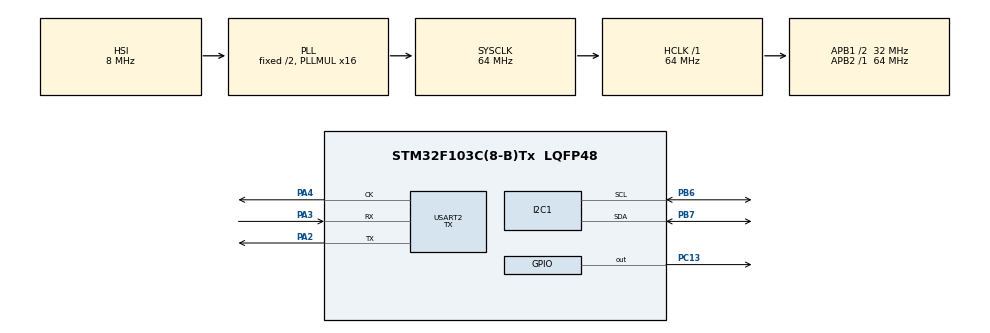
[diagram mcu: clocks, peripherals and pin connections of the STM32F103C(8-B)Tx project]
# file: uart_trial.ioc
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I2C1.I2C_Mode=I2C_Fast
Mcu.Family=STM32F1
Mcu.Name=STM32F103C(8-B)Tx
Mcu.Package=LQFP48
NVIC.PriorityGroup=NVIC_PRIORITYGROUP_4
PA13.Mode=Serial_Wire
PA13.Signal=SYS_JTMS-SWDIO
PA14.Mode=Serial_Wire
PA14.Signal=SYS_JTCK-SWCLK
PA2.Mode=Synchronous
PA2.Signal=USART2_TX
PA3.Mode=Synchronous
PA3.Signal=USART2_RX
PA4.Mode=Synchronous
PA4.Signal=USART2_CK
PB6.Mode=I2C
PB6.Signal=I2C1_SCL
PB7.Mode=I2C
PB7.Signal=I2C1_SDA
PC13-TAMPER-RTC.Signal=GPIO_Output
ProjectManager.HeapSize=0x200
ProjectManager.StackSize=0x400
ProjectManager.TargetToolchain=STM32CubeIDE
RCC.AHBFreq_Value=64000000
RCC.APB1CLKDivider=RCC_HCLK_DIV2
RCC.APB1Freq_Value=32000000
RCC.APB1TimFreq_Value=64000000
RCC.APB2Freq_Value=64000000
RCC.APB2TimFreq_Value=64000000
RCC.HCLKFreq_Value=64000000
RCC.PLLMUL=RCC_PLL_MUL16
RCC.SYSCLKFreq_VALUE=64000000
RCC.SYSCLKSource=RCC_SYSCLKSOURCE_PLLCLK
RCC.USBFreq_Value=64000000
USART2.Mode=MODE_TX
USART2.VirtualMode=VM_SYNC
board=custom

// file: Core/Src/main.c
/* USER CODE BEGIN Header */
/**
  ******************************************************************************
  * @file           : main.c
  * @brief          : Main program body
  ******************************************************************************
  * @attention
  *
  * Copyright (c) 2026 STMicroelectronics.
  * All rights reserved.
  *
  * This software is licensed under terms that can be found in the LICENSE file
  * in the root directory of this software component.
  * If no LICENSE file comes with this software, it is provided AS-IS.
  *
  ******************************************************************************
  */
/* USER CODE END Header */
#include "main.h"

/* USER CODE BEGIN Includes */
#include <stdio.h>
#include <string.h>
/* USER CODE END Includes */

I2C_HandleTypeDef hi2c1;

USART_HandleTypeDef husart2;

/* USER CODE BEGIN PV */
// Raw Data
int16_t Accel_X_RAW, Accel_Y_RAW, Accel_Z_RAW;
int16_t Gyro_X_RAW, Gyro_Y_RAW, Gyro_Z_RAW;

// Scaled Real-World Data (G-force & Degrees/sec)
float Ax, Ay, Az;
float Gx, Gy, Gz;

// Gyroscope Calibration Offsets
float Gx_cal = 0, Gy_cal = 0, Gz_cal = 0;
/* USER CODE END PV */

void SystemClock_Config(void);
static void MX_GPIO_Init(void);
static void MX_I2C1_Init(void);
static void MX_USART2_Init(void);

int main(void)
{

  /* MCU Configuration--------------------------------------------------------*/

  /* Reset of all peripherals, Initializes the Flash interface and the Systick. */
  HAL_Init();

  /* Configure the system clock */
  SystemClock_Config();

  /* Initialize all configured peripherals */
  MX_GPIO_Init();

  // NOTE: If the LED rapid-blinks infinitely on startup, comment these
  // two lines out one at a time to find out which one is crashing the board.
  MX_I2C1_Init();
  MX_USART2_Init();

  /* USER CODE BEGIN 2 */

    // Normal Startup Sequence: Blink 3 times
    for (int i = 0; i < 3; i++)
    {
      HAL_GPIO_TogglePin(GPIOC, GPIO_PIN_13);
      HAL_Delay(500);
      HAL_GPIO_TogglePin(GPIOC, GPIO_PIN_13);
      HAL_Delay(500);
    }

    // --- WAKE UP MPU6050 IMU ---
    uint8_t Data = 0x00;
    HAL_I2C_Mem_Write(&hi2c1, 0xD0, 0x6B, 1, &Data, 1, 1000);

    // --- CALIBRATE GYROSCOPE ---
    // Leave the IMU completely flat and still during this!
    uint8_t Cal_Data[6];
    for (int i = 0; i < 500; i++)
    {
        HAL_I2C_Mem_Read(&hi2c1, 0xD0, 0x43, 1, Cal_Data, 6, 1000);
        Gx_cal += (int16_t)(Cal_Data[0] << 8 | Cal_Data[1]);
        Gy_cal += (int16_t)(Cal_Data[2] << 8 | Cal_Data[3]);
        Gz_cal += (int16_t)(Cal_Data[4] << 8 | Cal_Data[5]);
        HAL_Delay(3); // Small delay between readings
    }

    // Divide by 500 to get the average offset
    Gx_cal /= 500.0;
    Gy_cal /= 500.0;
    Gz_cal /= 500.0;

    /* USER CODE END 2 */

    /* Infinite loop */
      while (1)
      {

        /* USER CODE BEGIN 3 */
        uint8_t Rec_Data[14];

        // Read 14 bytes starting from register 0x3B (ACCEL_XOUT_H)
        HAL_I2C_Mem_Read(&hi2c1, 0xD0, 0x3B, 1, Rec_Data, 14, 1000);

        // 1. Combine Raw Bytes
        Accel_X_RAW = (int16_t)(Rec_Data[0] << 8 | Rec_Data[1]);
        Accel_Y_RAW = (int16_t)(Rec_Data[2] << 8 | Rec_Data[3]);
        Accel_Z_RAW = (int16_t)(Rec_Data[4] << 8 | Rec_Data[5]);

        Gyro_X_RAW = (int16_t)(Rec_Data[8] << 8 | Rec_Data[9]);
        Gyro_Y_RAW = (int16_t)(Rec_Data[10] << 8 | Rec_Data[11]);
        Gyro_Z_RAW = (int16_t)(Rec_Data[12] << 8 | Rec_Data[13]);

        // 2. Convert Accelerometer to G-Force
        Ax = Accel_X_RAW / 16384.0;
        Ay = Accel_Y_RAW / 16384.0;
        Az = Accel_Z_RAW / 16384.0;

        // 3. Subtract Offset and Convert Gyroscope to Degrees/Second
        Gx = (Gyro_X_RAW - Gx_cal) / 131.0;
        Gy = (Gyro_Y_RAW - Gy_cal) / 131.0;
        Gz = (Gyro_Z_RAW - Gz_cal) / 131.0;

        // --- 4. FORMAT AND TRANSMIT TO JETSON ---
            char tx_buffer[64];

            // Format into a string: Ax,Ay,Az,Gx,Gy,Gz followed by a line break (\r\n)
            sprintf(tx_buffer, "%.2f,%.2f,%.2f,%.2f,%.2f,%.2f\r\n", Ax, Ay, Az, Gx, Gy, Gz);

            // Transmit over Serial
            // (Note: If you changed to UART/Asynchronous mode in CubeMX, use &huart2 and HAL_UART_Transmit instead)
            HAL_USART_Transmit(&husart2, (uint8_t*)tx_buffer, strlen(tx_buffer), 100);

            HAL_Delay(50); // Send data roughly 20 times per second
            }
      /* USER CODE END 3 */
}

void SystemClock_Config(void)
{
  RCC_OscInitTypeDef RCC_OscInitStruct = {0};
  RCC_ClkInitTypeDef RCC_ClkInitStruct = {0};

  /** Initializes the RCC Oscillators according to the specified parameters
  * in the RCC_OscInitTypeDef structure.
  */
  RCC_OscInitStruct.OscillatorType = RCC_OSCILLATORTYPE_HSI;
  RCC_OscInitStruct.HSIState = RCC_HSI_ON;
  RCC_OscInitStruct.HSICalibrationValue = RCC_HSICALIBRATION_DEFAULT;
  RCC_OscInitStruct.PLL.PLLState = RCC_PLL_ON;
  RCC_OscInitStruct.PLL.PLLSource = RCC_PLLSOURCE_HSI_DIV2;
  RCC_OscInitStruct.PLL.PLLMUL = RCC_PLL_MUL16;
  if (HAL_RCC_OscConfig(&RCC_OscInitStruct) != HAL_OK)
  {
    Error_Handler();
  }

  /** Initializes the CPU, AHB and APB buses clocks
  */
  RCC_ClkInitStruct.ClockType = RCC_CLOCKTYPE_HCLK|RCC_CLOCKTYPE_SYSCLK
                              |RCC_CLOCKTYPE_PCLK1|RCC_CLOCKTYPE_PCLK2;
  RCC_ClkInitStruct.SYSCLKSource = RCC_SYSCLKSOURCE_PLLCLK;
  RCC_ClkInitStruct.AHBCLKDivider = RCC_SYSCLK_DIV1;
  RCC_ClkInitStruct.APB1CLKDivider = RCC_HCLK_DIV2;
  RCC_ClkInitStruct.APB2CLKDivider = RCC_HCLK_DIV1;

  if (HAL_RCC_ClockConfig(&RCC_ClkInitStruct, FLASH_LATENCY_2) != HAL_OK)
  {
    Error_Handler();
  }
}

static void MX_I2C1_Init(void)
{

  hi2c1.Instance = I2C1;
  hi2c1.Init.ClockSpeed = 400000;
  hi2c1.Init.DutyCycle = I2C_DUTYCYCLE_2;
  hi2c1.Init.OwnAddress1 = 0;
  hi2c1.Init.AddressingMode = I2C_ADDRESSINGMODE_7BIT;
  hi2c1.Init.DualAddressMode = I2C_DUALADDRESS_DISABLE;
  hi2c1.Init.OwnAddress2 = 0;
  hi2c1.Init.GeneralCallMode = I2C_GENERALCALL_DISABLE;
  hi2c1.Init.NoStretchMode = I2C_NOSTRETCH_DISABLE;
  if (HAL_I2C_Init(&hi2c1) != HAL_OK)
  {
    Error_Handler();
  }

}

static void MX_USART2_Init(void)
{

  husart2.Instance = USART2;
  husart2.Init.BaudRate = 115200;
  husart2.Init.WordLength = USART_WORDLENGTH_8B;
  husart2.Init.StopBits = USART_STOPBITS_1;
  husart2.Init.Parity = USART_PARITY_NONE;
  husart2.Init.Mode = USART_MODE_TX;
  husart2.Init.CLKPolarity = USART_POLARITY_LOW;
  husart2.Init.CLKPhase = USART_PHASE_1EDGE;
  husart2.Init.CLKLastBit = USART_LASTBIT_DISABLE;
  if (HAL_USART_Init(&husart2) != HAL_OK)
  {
    Error_Handler();
  }

}

static void MX_GPIO_Init(void)
{
  GPIO_InitTypeDef GPIO_InitStruct = {0};

  /* GPIO Ports Clock Enable */
  __HAL_RCC_GPIOC_CLK_ENABLE();
  __HAL_RCC_GPIOA_CLK_ENABLE();
  __HAL_RCC_GPIOB_CLK_ENABLE();

  /*Configure GPIO pin Output Level */
  HAL_GPIO_WritePin(GPIOC, GPIO_PIN_13, GPIO_PIN_RESET);

  /*Configure GPIO pin : PC13 */
  GPIO_InitStruct.Pin = GPIO_PIN_13;
  GPIO_InitStruct.Mode = GPIO_MODE_OUTPUT_PP;
  GPIO_InitStruct.Pull = GPIO_NOPULL;
  GPIO_InitStruct.Speed = GPIO_SPEED_FREQ_LOW;
  HAL_GPIO_Init(GPIOC, &GPIO_InitStruct);

}

void Error_Handler(void)
{
  /* USER CODE BEGIN Error_Handler_Debug */
  __disable_irq();
  while (1)
  {
      // Diagnostic: Rapid blinking indicates a hard crash!
      HAL_GPIO_TogglePin(GPIOC, GPIO_PIN_13);
      for(volatile int i=0; i<100000; i++); // Crude delay independent of SysTick
  }
  /* USER CODE END Error_Handler_Debug */
}
